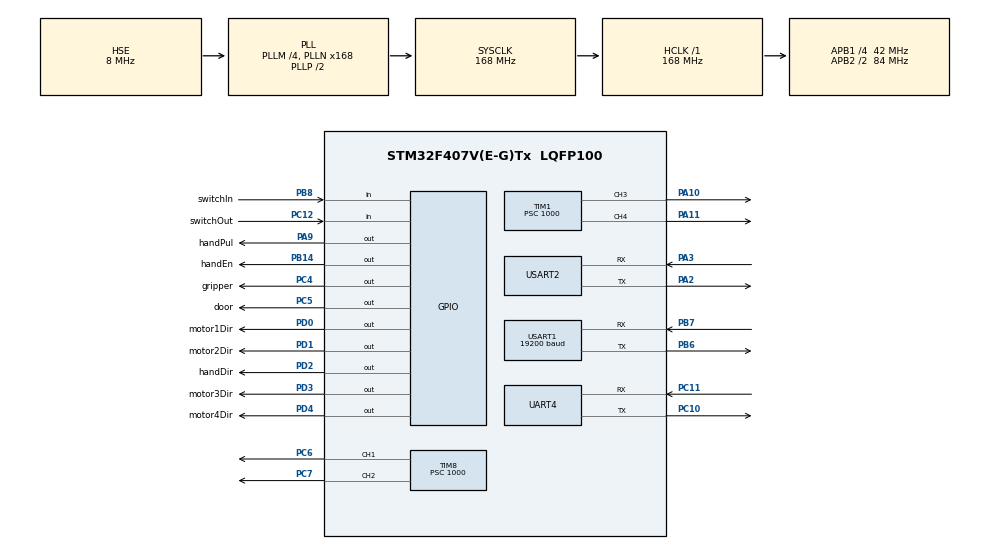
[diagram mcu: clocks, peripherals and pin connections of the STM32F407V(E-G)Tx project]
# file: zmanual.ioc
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Dma.Request0=USART1_RX
Dma.Request1=UART4_RX
Dma.Request2=USART2_TX
Dma.UART4_RX.1.Direction=DMA_PERIPH_TO_MEMORY
Dma.UART4_RX.1.FIFOMode=DMA_FIFOMODE_DISABLE
Dma.UART4_RX.1.Instance=DMA1_Stream2
Dma.UART4_RX.1.MemDataAlignment=DMA_MDATAALIGN_BYTE
Dma.UART4_RX.1.MemInc=DMA_MINC_ENABLE
Dma.UART4_RX.1.Mode=DMA_CIRCULAR
Dma.UART4_RX.1.PeriphDataAlignment=DMA_PDATAALIGN_BYTE
Dma.UART4_RX.1.PeriphInc=DMA_PINC_DISABLE
Dma.UART4_RX.1.Priority=DMA_PRIORITY_LOW
Dma.USART1_RX.0.Direction=DMA_PERIPH_TO_MEMORY
Dma.USART1_RX.0.FIFOMode=DMA_FIFOMODE_DISABLE
Dma.USART1_RX.0.Instance=DMA2_Stream2
Dma.USART1_RX.0.MemDataAlignment=DMA_MDATAALIGN_BYTE
Dma.USART1_RX.0.MemInc=DMA_MINC_ENABLE
Dma.USART1_RX.0.Mode=DMA_CIRCULAR
Dma.USART1_RX.0.PeriphDataAlignment=DMA_PDATAALIGN_BYTE
Dma.USART1_RX.0.PeriphInc=DMA_PINC_DISABLE
Dma.USART1_RX.0.Priority=DMA_PRIORITY_LOW
Dma.USART2_TX.2.Direction=DMA_MEMORY_TO_PERIPH
Dma.USART2_TX.2.FIFOMode=DMA_FIFOMODE_DISABLE
Dma.USART2_TX.2.Instance=DMA1_Stream6
Dma.USART2_TX.2.MemDataAlignment=DMA_MDATAALIGN_BYTE
Dma.USART2_TX.2.MemInc=DMA_MINC_ENABLE
Dma.USART2_TX.2.Mode=DMA_NORMAL
Dma.USART2_TX.2.PeriphDataAlignment=DMA_PDATAALIGN_BYTE
Dma.USART2_TX.2.PeriphInc=DMA_PINC_DISABLE
Dma.USART2_TX.2.Priority=DMA_PRIORITY_LOW
Mcu.Family=STM32F4
Mcu.Name=STM32F407V(E-G)Tx
Mcu.Package=LQFP100
NVIC.DMA1_Stream2_IRQn=true\:0\:0\:false\:false\:true\:false\:true
NVIC.DMA1_Stream6_IRQn=true\:0\:0\:false\:false\:true\:false\:true
NVIC.DMA2_Stream2_IRQn=true\:0\:0\:false\:false\:true\:false\:true
NVIC.PriorityGroup=NVIC_PRIORITYGROUP_4
NVIC.TIM5_IRQn=true\:0\:0\:false\:false\:true\:true\:true
NVIC.UART4_IRQn=true\:0\:0\:false\:false\:true\:true\:true
NVIC.USART2_IRQn=true\:0\:0\:false\:false\:true\:true\:true
PA10.Signal=S_TIM1_CH3
PA11.Signal=S_TIM1_CH4
PA2.Mode=Asynchronous
PA2.Signal=USART2_TX
PA3.Mode=Asynchronous
PA3.Signal=USART2_RX
PA9.GPIO_Label=handPul
PA9.Signal=GPIO_Output
PB14.GPIO_Label=handEn
PB14.GPIO_Speed=GPIO_SPEED_FREQ_VERY_HIGH
PB14.Signal=GPIO_Output
PB6.Mode=Asynchronous
PB6.Signal=USART1_TX
PB7.Mode=Asynchronous
PB7.Signal=USART1_RX
PB8.GPIO_Label=switchIn
PB8.GPIO_PuPd=GPIO_PULLUP
PB8.Signal=GPIO_Input
PC10.Mode=Asynchronous
PC10.Signal=UART4_TX
PC11.Mode=Asynchronous
PC11.Signal=UART4_RX
PC12.GPIO_Label=switchOut
PC12.GPIO_PuPd=GPIO_PULLUP
PC12.Signal=GPIO_Input
PC4.GPIO_Label=gripper
PC4.Signal=GPIO_Output
PC5.GPIO_Label=door
PC5.Signal=GPIO_Output
PC6.Signal=S_TIM8_CH1
PC7.Signal=S_TIM8_CH2
PD0.GPIO_Label=motor1Dir
PD0.Signal=GPIO_Output
PD1.GPIO_Label=motor2Dir
PD1.Signal=GPIO_Output
PD2.GPIO_Label=handDir
PD2.Signal=GPIO_Output
PD3.GPIO_Label=motor3Dir
PD3.Signal=GPIO_Output
PD4.GPIO_Label=motor4Dir
PD4.Signal=GPIO_Output
PH0-OSC_IN.Mode=HSE-External-Oscillator
PH0-OSC_IN.Signal=RCC_OSC_IN
PH1-OSC_OUT.Mode=HSE-External-Oscillator
PH1-OSC_OUT.Signal=RCC_OSC_OUT
ProjectManager.HeapSize=0x200
ProjectManager.StackSize=0x400
ProjectManager.TargetToolchain=STM32CubeIDE
RCC.48MHZClocksFreq_Value=84000000
RCC.AHBFreq_Value=168000000
RCC.APB1CLKDivider=RCC_HCLK_DIV4
RCC.APB1Freq_Value=42000000
RCC.APB1TimFreq_Value=84000000
RCC.APB2CLKDivider=RCC_HCLK_DIV2
RCC.APB2Freq_Value=84000000
RCC.APB2TimFreq_Value=168000000
RCC.CortexFreq_Value=168000000
RCC.HCLKFreq_Value=168000000
RCC.HSE_VALUE=8000000
RCC.HSI_VALUE=16000000
RCC.LSE_VALUE=32768
RCC.PLLM=4
RCC.PLLN=168
RCC.PLLSourceVirtual=RCC_PLLSOURCE_HSE
RCC.SYSCLKFreq_VALUE=168000000
RCC.SYSCLKSource=RCC_SYSCLKSOURCE_PLLCLK
RCC.VCOOutputFreq_Value=336000000
SH.S_TIM1_CH3.0=TIM1_CH3,PWM Generation3 CH3
SH.S_TIM1_CH4.0=TIM1_CH4,PWM Generation4 CH4
SH.S_TIM8_CH1.0=TIM8_CH1,PWM Generation1 CH1
SH.S_TIM8_CH2.0=TIM8_CH2,PWM Generation2 CH2
TIM1.BreakPolarity=TIM_BREAKPOLARITY_LOW
TIM1.Channel-PWM\ Generation3\ CH3=TIM_CHANNEL_3
TIM1.Channel-PWM\ Generation4\ CH4=TIM_CHANNEL_4
TIM1.OCPolarity_3=TIM_OCPOLARITY_LOW
TIM1.OCPolarity_4=TIM_OCPOLARITY_LOW
TIM1.Period=255
TIM1.Prescaler=1000
TIM5.Period=1000
TIM5.Prescaler=839
TIM8.BreakPolarity=TIM_BREAKPOLARITY_LOW
TIM8.Channel-PWM\ Generation1\ CH1=TIM_CHANNEL_1
TIM8.Channel-PWM\ Generation2\ CH2=TIM_CHANNEL_2
TIM8.OCPolarity_1=TIM_OCPOLARITY_LOW
TIM8.OCPolarity_2=TIM_OCPOLARITY_LOW
TIM8.Period=255
TIM8.Prescaler=1000
UART4.VirtualMode=Asynchronous
USART1.BaudRate=19200
USART1.VirtualMode=VM_ASYNC
USART2.VirtualMode=VM_ASYNC
VP_TIM1_VS_ClockSourceINT.Mode=Internal
VP_TIM5_VS_ClockSourceINT.Mode=Internal
VP_TIM8_VS_ClockSourceINT.Mode=Internal
board=custom

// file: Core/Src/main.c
/* USER CODE BEGIN Header */
/**
  ******************************************************************************
  * @file           : main.c
  * @brief          : Main program body
  ******************************************************************************
  * @attention
  *
  * <h2><center>&copy; Copyright (c) 2020 STMicroelectronics.
  * All rights reserved.</center></h2>
  *
  * This software component is licensed by ST under BSD 3-Clause license,
  * the "License"; You may not use this file except in compliance with the
  * License. You may obtain a copy of the License at:
  *                        opensource.org/licenses/BSD-3-Clause
  *
  ******************************************************************************
  */
/* USER CODE END Header */

#include "main.h"

/* USER CODE BEGIN Includes */
#include "stdlib.h"
/* USER CODE END Includes */

TIM_HandleTypeDef htim1;
TIM_HandleTypeDef htim5;
TIM_HandleTypeDef htim8;

UART_HandleTypeDef huart4;
UART_HandleTypeDef huart1;
UART_HandleTypeDef huart2;
DMA_HandleTypeDef hdma_uart4_rx;
DMA_HandleTypeDef hdma_usart1_rx;
DMA_HandleTypeDef hdma_usart2_tx;

/* USER CODE BEGIN PV */
int tracking;
double _roL_pit_speed;
double _dir;
double _motor1Speed;
double _motor2Speed;
double _motor3Speed;
double _motor4Speed;
double maxSpeed = 100;
double yawSpeed;
double _controlSpeed;
double rotateAngle;
double rotateFactor = 0.001;
double debugSpeed1;
double debugSpeed2;
double debugSpeed3;
double debugSpeed4;
/* USER CODE END PV */

void SystemClock_Config(void);
static void MX_GPIO_Init(void);
static void MX_DMA_Init(void);
static void MX_USART1_UART_Init(void);
static void MX_UART4_Init(void);
static void MX_TIM1_Init(void);
static void MX_TIM8_Init(void);
static void MX_TIM5_Init(void);
static void MX_USART2_UART_Init(void);

/* USER CODE BEGIN 0 */
#include "DNL_zmanual_Debug.h"
#include "DNL_zmanual_Hand.h"
#include "DNL_zmanual_UART.h"
#include "DNL_zmanual_Motor.h"
#include "DNL_zmanual_PID.h"
/* USER CODE END 0 */

int main(void)
{

  /* MCU Configuration--------------------------------------------------------*/

  /* Reset of all peripherals, Initializes the Flash interface and the Systick. */
  HAL_Init();

  /* Configure the system clock */
  SystemClock_Config();

  /* Initialize all configured peripherals */
  MX_GPIO_Init();
  MX_DMA_Init();
  MX_USART1_UART_Init();
  MX_UART4_Init();
  MX_TIM1_Init();
  MX_TIM8_Init();
  MX_TIM5_Init();
  MX_USART2_UART_Init();
  /* USER CODE BEGIN 2 */
  peripheralUART_Init();
  peripheralPWM_Init();
  handControl_Init();
  compassReset();
  /* USER CODE END 2 */

  /* Infinite loop */
  /* USER CODE BEGIN WHILE */
  while (1)
  {
//							  testPWM();
	if(joyRigtHor == 0)
	{
		PIDyaw(compassData, rotateAngle);
		_dir = atan2(joyLeftHor, -joyLeftVer);
		_controlSpeed = sqrt(joyLeftHor*joyLeftHor + joyLeftVer*joyLeftVer);
		_motor1Speed = yawPID*factorYawPID + (factorSpeed*_controlSpeed *cos(3*M_PI/4 - _dir) + 0);
		_motor2Speed = yawPID*factorYawPID + (factorSpeed*_controlSpeed *cos(3*M_PI/4 + _dir) - 0);
		_motor3Speed = yawPID*factorYawPID +  factorSpeed*_controlSpeed *cos(  M_PI/4 + _dir) + 0;
		_motor4Speed = yawPID*factorYawPID +  factorSpeed*_controlSpeed *cos(  M_PI/4 - _dir) - 0;
		controlMotor1(_motor1Speed);
		controlMotor2(_motor2Speed);
		controlMotor3(_motor3Speed);
		controlMotor4(_motor4Speed);
	}
	else
	{
		_dir = atan2(joyLeftHor, -joyLeftVer);
		_controlSpeed = sqrt(joyLeftHor*joyLeftHor + joyLeftVer*joyLeftVer);
		_motor1Speed = joyRigtHor*1.0 + (factorSpeed*_controlSpeed *cos(3*M_PI/4 - _dir) + 0);
		_motor2Speed = joyRigtHor*1.0 + (factorSpeed*_controlSpeed *cos(3*M_PI/4 + _dir) - 0);
		_motor3Speed = joyRigtHor*1.0 +  factorSpeed*_controlSpeed *cos(  M_PI/4 + _dir) + 0;
		_motor4Speed = joyRigtHor*1.0 +  factorSpeed*_controlSpeed *cos(  M_PI/4 - _dir) - 0;
		controlMotor1(_motor1Speed);
		controlMotor2(_motor2Speed);
		controlMotor3(_motor3Speed);
		controlMotor4(_motor4Speed);
		rotateAngle = compassData;
	}
//	  HAL_GPIO_WritePin(handPul_GPIO_Port, handPul_Pin, GPIO_PIN_RESET);
//	  HAL_GPIO_WritePin(handDir_GPIO_Port, handDir_Pin, GPIO_PIN_RESET);
	  trackingMotorDir = HAL_GPIO_ReadPin(handDir_GPIO_Port, handDir_Pin);
	  trackingMotorPul = HAL_GPIO_ReadPin(handPul_GPIO_Port, handPul_Pin);
	  trackingSwitchIn = HAL_GPIO_ReadPin(switchIn_GPIO_Port, switchIn_Pin);
	  trackingSwitchOut = HAL_GPIO_ReadPin(switchOut_GPIO_Port, switchOut_Pin);
	  tracking++;
    /* USER CODE END WHILE */

  }
}

void SystemClock_Config(void)
{
  RCC_OscInitTypeDef RCC_OscInitStruct = {0};
  RCC_ClkInitTypeDef RCC_ClkInitStruct = {0};

  /** Configure the main internal regulator output voltage
  */
  __HAL_RCC_PWR_CLK_ENABLE();
  __HAL_PWR_VOLTAGESCALING_CONFIG(PWR_REGULATOR_VOLTAGE_SCALE1);
  /** Initializes the CPU, AHB and APB busses clocks
  */
  RCC_OscInitStruct.OscillatorType = RCC_OSCILLATORTYPE_HSE;
  RCC_OscInitStruct.HSEState = RCC_HSE_ON;
  RCC_OscInitStruct.PLL.PLLState = RCC_PLL_ON;
  RCC_OscInitStruct.PLL.PLLSource = RCC_PLLSOURCE_HSE;
  RCC_OscInitStruct.PLL.PLLM = 4;
  RCC_OscInitStruct.PLL.PLLN = 168;
  RCC_OscInitStruct.PLL.PLLP = RCC_PLLP_DIV2;
  RCC_OscInitStruct.PLL.PLLQ = 4;
  if (HAL_RCC_OscConfig(&RCC_OscInitStruct) != HAL_OK)
  {
    Error_Handler();
  }
  /** Initializes the CPU, AHB and APB busses clocks
  */
  RCC_ClkInitStruct.ClockType = RCC_CLOCKTYPE_HCLK|RCC_CLOCKTYPE_SYSCLK
                              |RCC_CLOCKTYPE_PCLK1|RCC_CLOCKTYPE_PCLK2;
  RCC_ClkInitStruct.SYSCLKSource = RCC_SYSCLKSOURCE_PLLCLK;
  RCC_ClkInitStruct.AHBCLKDivider = RCC_SYSCLK_DIV1;
  RCC_ClkInitStruct.APB1CLKDivider = RCC_HCLK_DIV4;
  RCC_ClkInitStruct.APB2CLKDivider = RCC_HCLK_DIV2;

  if (HAL_RCC_ClockConfig(&RCC_ClkInitStruct, FLASH_LATENCY_5) != HAL_OK)
  {
    Error_Handler();
  }
}

static void MX_TIM1_Init(void)
{

  TIM_ClockConfigTypeDef sClockSourceConfig = {0};
  TIM_MasterConfigTypeDef sMasterConfig = {0};
  TIM_OC_InitTypeDef sConfigOC = {0};
  TIM_BreakDeadTimeConfigTypeDef sBreakDeadTimeConfig = {0};

  htim1.Instance = TIM1;
  htim1.Init.Prescaler = 1000;
  htim1.Init.CounterMode = TIM_COUNTERMODE_UP;
  htim1.Init.Period = 255;
  htim1.Init.ClockDivision = TIM_CLOCKDIVISION_DIV1;
  htim1.Init.RepetitionCounter = 0;
  htim1.Init.AutoReloadPreload = TIM_AUTORELOAD_PRELOAD_DISABLE;
  if (HAL_TIM_Base_Init(&htim1) != HAL_OK)
  {
    Error_Handler();
  }
  sClockSourceConfig.ClockSource = TIM_CLOCKSOURCE_INTERNAL;
  if (HAL_TIM_ConfigClockSource(&htim1, &sClockSourceConfig) != HAL_OK)
  {
    Error_Handler();
  }
  if (HAL_TIM_PWM_Init(&htim1) != HAL_OK)
  {
    Error_Handler();
  }
  sMasterConfig.MasterOutputTrigger = TIM_TRGO_RESET;
  sMasterConfig.MasterSlaveMode = TIM_MASTERSLAVEMODE_DISABLE;
  if (HAL_TIMEx_MasterConfigSynchronization(&htim1, &sMasterConfig) != HAL_OK)
  {
    Error_Handler();
  }
  sConfigOC.OCMode = TIM_OCMODE_PWM1;
  sConfigOC.Pulse = 0;
  sConfigOC.OCPolarity = TIM_OCPOLARITY_LOW;
  sConfigOC.OCNPolarity = TIM_OCNPOLARITY_HIGH;
  sConfigOC.OCFastMode = TIM_OCFAST_DISABLE;
  sConfigOC.OCIdleState = TIM_OCIDLESTATE_RESET;
  sConfigOC.OCNIdleState = TIM_OCNIDLESTATE_RESET;
  if (HAL_TIM_PWM_ConfigChannel(&htim1, &sConfigOC, TIM_CHANNEL_3) != HAL_OK)
  {
    Error_Handler();
  }
  if (HAL_TIM_PWM_ConfigChannel(&htim1, &sConfigOC, TIM_CHANNEL_4) != HAL_OK)
  {
    Error_Handler();
  }
  sBreakDeadTimeConfig.OffStateRunMode = TIM_OSSR_DISABLE;
  sBreakDeadTimeConfig.OffStateIDLEMode = TIM_OSSI_DISABLE;
  sBreakDeadTimeConfig.LockLevel = TIM_LOCKLEVEL_OFF;
  sBreakDeadTimeConfig.DeadTime = 0;
  sBreakDeadTimeConfig.BreakState = TIM_BREAK_DISABLE;
  sBreakDeadTimeConfig.BreakPolarity = TIM_BREAKPOLARITY_LOW;
  sBreakDeadTimeConfig.AutomaticOutput = TIM_AUTOMATICOUTPUT_DISABLE;
  if (HAL_TIMEx_ConfigBreakDeadTime(&htim1, &sBreakDeadTimeConfig) != HAL_OK)
  {
    Error_Handler();
  }
  HAL_TIM_MspPostInit(&htim1);

}

static void MX_TIM5_Init(void)
{

  TIM_ClockConfigTypeDef sClockSourceConfig = {0};
  TIM_MasterConfigTypeDef sMasterConfig = {0};

  htim5.Instance = TIM5;
  htim5.Init.Prescaler = 839;
  htim5.Init.CounterMode = TIM_COUNTERMODE_UP;
  htim5.Init.Period = 1000;
  htim5.Init.ClockDivision = TIM_CLOCKDIVISION_DIV1;
  htim5.Init.AutoReloadPreload = TIM_AUTORELOAD_PRELOAD_DISABLE;
  if (HAL_TIM_Base_Init(&htim5) != HAL_OK)
  {
    Error_Handler();
  }
  sClockSourceConfig.ClockSource = TIM_CLOCKSOURCE_INTERNAL;
  if (HAL_TIM_ConfigClockSource(&htim5, &sClockSourceConfig) != HAL_OK)
  {
    Error_Handler();
  }
  sMasterConfig.MasterOutputTrigger = TIM_TRGO_RESET;
  sMasterConfig.MasterSlaveMode = TIM_MASTERSLAVEMODE_DISABLE;
  if (HAL_TIMEx_MasterConfigSynchronization(&htim5, &sMasterConfig) != HAL_OK)
  {
    Error_Handler();
  }

}

static void MX_TIM8_Init(void)
{

  TIM_ClockConfigTypeDef sClockSourceConfig = {0};
  TIM_MasterConfigTypeDef sMasterConfig = {0};
  TIM_OC_InitTypeDef sConfigOC = {0};
  TIM_BreakDeadTimeConfigTypeDef sBreakDeadTimeConfig = {0};

  htim8.Instance = TIM8;
  htim8.Init.Prescaler = 1000;
  htim8.Init.CounterMode = TIM_COUNTERMODE_UP;
  htim8.Init.Period = 255;
  htim8.Init.ClockDivision = TIM_CLOCKDIVISION_DIV1;
  htim8.Init.RepetitionCounter = 0;
  htim8.Init.AutoReloadPreload = TIM_AUTORELOAD_PRELOAD_DISABLE;
  if (HAL_TIM_Base_Init(&htim8) != HAL_OK)
  {
    Error_Handler();
  }
  sClockSourceConfig.ClockSource = TIM_CLOCKSOURCE_INTERNAL;
  if (HAL_TIM_ConfigClockSource(&htim8, &sClockSourceConfig) != HAL_OK)
  {
    Error_Handler();
  }
  if (HAL_TIM_PWM_Init(&htim8) != HAL_OK)
  {
    Error_Handler();
  }
  sMasterConfig.MasterOutputTrigger = TIM_TRGO_RESET;
  sMasterConfig.MasterSlaveMode = TIM_MASTERSLAVEMODE_DISABLE;
  if (HAL_TIMEx_MasterConfigSynchronization(&htim8, &sMasterConfig) != HAL_OK)
  {
    Error_Handler();
  }
  sConfigOC.OCMode = TIM_OCMODE_PWM1;
  sConfigOC.Pulse = 0;
  sConfigOC.OCPolarity = TIM_OCPOLARITY_LOW;
  sConfigOC.OCNPolarity = TIM_OCNPOLARITY_HIGH;
  sConfigOC.OCFastMode = TIM_OCFAST_DISABLE;
  sConfigOC.OCIdleState = TIM_OCIDLESTATE_RESET;
  sConfigOC.OCNIdleState = TIM_OCNIDLESTATE_RESET;
  if (HAL_TIM_PWM_ConfigChannel(&htim8, &sConfigOC, TIM_CHANNEL_1) != HAL_OK)
  {
    Error_Handler();
  }
  if (HAL_TIM_PWM_ConfigChannel(&htim8, &sConfigOC, TIM_CHANNEL_2) != HAL_OK)
  {
    Error_Handler();
  }
  sBreakDeadTimeConfig.OffStateRunMode = TIM_OSSR_DISABLE;
  sBreakDeadTimeConfig.OffStateIDLEMode = TIM_OSSI_DISABLE;
  sBreakDeadTimeConfig.LockLevel = TIM_LOCKLEVEL_OFF;
  sBreakDeadTimeConfig.DeadTime = 0;
  sBreakDeadTimeConfig.BreakState = TIM_BREAK_DISABLE;
  sBreakDeadTimeConfig.BreakPolarity = TIM_BREAKPOLARITY_LOW;
  sBreakDeadTimeConfig.AutomaticOutput = TIM_AUTOMATICOUTPUT_DISABLE;
  if (HAL_TIMEx_ConfigBreakDeadTime(&htim8, &sBreakDeadTimeConfig) != HAL_OK)
  {
    Error_Handler();
  }
  HAL_TIM_MspPostInit(&htim8);

}

static void MX_UART4_Init(void)
{

  huart4.Instance = UART4;
  huart4.Init.BaudRate = 115200;
  huart4.Init.WordLength = UART_WORDLENGTH_8B;
  huart4.Init.StopBits = UART_STOPBITS_1;
  huart4.Init.Parity = UART_PARITY_NONE;
  huart4.Init.Mode = UART_MODE_TX_RX;
  huart4.Init.HwFlowCtl = UART_HWCONTROL_NONE;
  huart4.Init.OverSampling = UART_OVERSAMPLING_16;
  if (HAL_UART_Init(&huart4) != HAL_OK)
  {
    Error_Handler();
  }

}

static void MX_USART1_UART_Init(void)
{

  huart1.Instance = USART1;
  huart1.Init.BaudRate = 19200;
  huart1.Init.WordLength = UART_WORDLENGTH_8B;
  huart1.Init.StopBits = UART_STOPBITS_1;
  huart1.Init.Parity = UART_PARITY_NONE;
  huart1.Init.Mode = UART_MODE_TX_RX;
  huart1.Init.HwFlowCtl = UART_HWCONTROL_NONE;
  huart1.Init.OverSampling = UART_OVERSAMPLING_16;
  if (HAL_UART_Init(&huart1) != HAL_OK)
  {
    Error_Handler();
  }

}

static void MX_USART2_UART_Init(void)
{

  huart2.Instance = USART2;
  huart2.Init.BaudRate = 115200;
  huart2.Init.WordLength = UART_WORDLENGTH_8B;
  huart2.Init.StopBits = UART_STOPBITS_1;
  huart2.Init.Parity = UART_PARITY_NONE;
  huart2.Init.Mode = UART_MODE_TX_RX;
  huart2.Init.HwFlowCtl = UART_HWCONTROL_NONE;
  huart2.Init.OverSampling = UART_OVERSAMPLING_16;
  if (HAL_UART_Init(&huart2) != HAL_OK)
  {
    Error_Handler();
  }

}

static void MX_DMA_Init(void)
{

  /* DMA controller clock enable */
  __HAL_RCC_DMA2_CLK_ENABLE();
  __HAL_RCC_DMA1_CLK_ENABLE();

  /* DMA interrupt init */
  /* DMA1_Stream2_IRQn interrupt configuration */
  HAL_NVIC_SetPriority(DMA1_Stream2_IRQn, 0, 0);
  HAL_NVIC_EnableIRQ(DMA1_Stream2_IRQn);
  /* DMA1_Stream6_IRQn interrupt configuration */
  HAL_NVIC_SetPriority(DMA1_Stream6_IRQn, 0, 0);
  HAL_NVIC_EnableIRQ(DMA1_Stream6_IRQn);
  /* DMA2_Stream2_IRQn interrupt configuration */
  HAL_NVIC_SetPriority(DMA2_Stream2_IRQn, 0, 0);
  HAL_NVIC_EnableIRQ(DMA2_Stream2_IRQn);

}

static void MX_GPIO_Init(void)
{
  GPIO_InitTypeDef GPIO_InitStruct = {0};

  /* GPIO Ports Clock Enable */
  __HAL_RCC_GPIOH_CLK_ENABLE();
  __HAL_RCC_GPIOA_CLK_ENABLE();
  __HAL_RCC_GPIOC_CLK_ENABLE();
  __HAL_RCC_GPIOB_CLK_ENABLE();
  __HAL_RCC_GPIOD_CLK_ENABLE();

  /*Configure GPIO pin Output Level */
  HAL_GPIO_WritePin(GPIOC, gripper_Pin|door_Pin, GPIO_PIN_RESET);

  /*Configure GPIO pin Output Level */
  HAL_GPIO_WritePin(handEn_GPIO_Port, handEn_Pin, GPIO_PIN_RESET);

  /*Configure GPIO pin Output Level */
  HAL_GPIO_WritePin(handPul_GPIO_Port, handPul_Pin, GPIO_PIN_RESET);

  /*Configure GPIO pin Output Level */
  HAL_GPIO_WritePin(GPIOD, motor1Dir_Pin|motor2Dir_Pin|handDir_Pin|motor3Dir_Pin
                          |motor4Dir_Pin, GPIO_PIN_RESET);

  /*Configure GPIO pins : gripper_Pin door_Pin */
  GPIO_InitStruct.Pin = gripper_Pin|door_Pin;
  GPIO_InitStruct.Mode = GPIO_MODE_OUTPUT_PP;
  GPIO_InitStruct.Pull = GPIO_NOPULL;
  GPIO_InitStruct.Speed = GPIO_SPEED_FREQ_LOW;
  HAL_GPIO_Init(GPIOC, &GPIO_InitStruct);

  /*Configure GPIO pin : handEn_Pin */
  GPIO_InitStruct.Pin = handEn_Pin;
  GPIO_InitStruct.Mode = GPIO_MODE_OUTPUT_PP;
  GPIO_InitStruct.Pull = GPIO_NOPULL;
  GPIO_InitStruct.Speed = GPIO_SPEED_FREQ_VERY_HIGH;
  HAL_GPIO_Init(handEn_GPIO_Port, &GPIO_InitStruct);

  /*Configure GPIO pin : handPul_Pin */
  GPIO_InitStruct.Pin = handPul_Pin;
  GPIO_InitStruct.Mode = GPIO_MODE_OUTPUT_PP;
  GPIO_InitStruct.Pull = GPIO_NOPULL;
  GPIO_InitStruct.Speed = GPIO_SPEED_FREQ_LOW;
  HAL_GPIO_Init(handPul_GPIO_Port, &GPIO_InitStruct);

  /*Configure GPIO pin : switchOut_Pin */
  GPIO_InitStruct.Pin = switchOut_Pin;
  GPIO_InitStruct.Mode = GPIO_MODE_INPUT;
  GPIO_InitStruct.Pull = GPIO_PULLUP;
  HAL_GPIO_Init(switchOut_GPIO_Port, &GPIO_InitStruct);

  /*Configure GPIO pins : motor1Dir_Pin motor2Dir_Pin handDir_Pin motor3Dir_Pin
                           motor4Dir_Pin */
  GPIO_InitStruct.Pin = motor1Dir_Pin|motor2Dir_Pin|handDir_Pin|motor3Dir_Pin
                          |motor4Dir_Pin;
  GPIO_InitStruct.Mode = GPIO_MODE_OUTPUT_PP;
  GPIO_InitStruct.Pull = GPIO_NOPULL;
  GPIO_InitStruct.Speed = GPIO_SPEED_FREQ_LOW;
  HAL_GPIO_Init(GPIOD, &GPIO_InitStruct);

  /*Configure GPIO pin : switchIn_Pin */
  GPIO_InitStruct.Pin = switchIn_Pin;
  GPIO_InitStruct.Mode = GPIO_MODE_INPUT;
  GPIO_InitStruct.Pull = GPIO_PULLUP;
  HAL_GPIO_Init(switchIn_GPIO_Port, &GPIO_InitStruct);

}

void Error_Handler(void)
{
}

/************************ (C) COPYRIGHT STMicroelectronics *****END OF FILE****/
